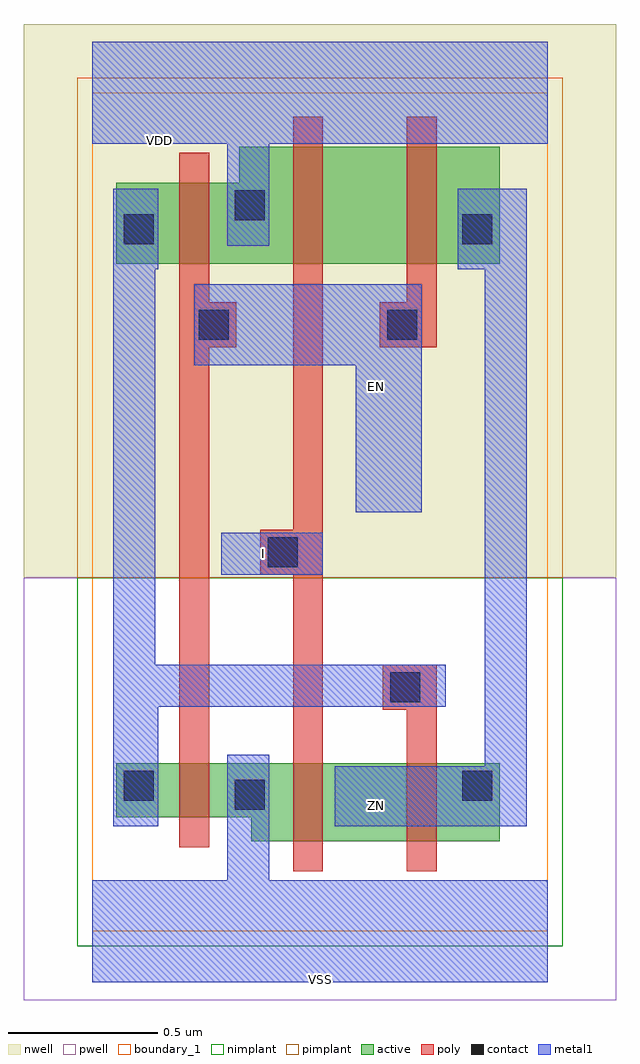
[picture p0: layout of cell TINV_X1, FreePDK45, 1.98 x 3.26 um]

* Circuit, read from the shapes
.subckt TINV_X1 EN I VDD VSS ZN
M1 VSS EN n1 VSUBS nfet w=0.18u l=0.1u
M2 n2 I VSS VSUBS nfet w=0.26u l=0.1u
M3 ZN n1 n2 VSUBS nfet w=0.26u l=0.1u
M4 VDD EN n1 n3 pfet w=0.27u l=0.1u
M5 n4 I VDD n3 pfet w=0.39u l=0.1u
M6 ZN EN n4 n3 pfet w=0.39u l=0.1u
.ends

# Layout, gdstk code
import gdstk
lib = gdstk.Library(unit=1e-6, precision=1e-09)
def R(c, l, rs):  # rectangles x0, y0, x1, y1
    for r in rs: c.add(gdstk.rectangle(r[:2], r[2:], *l))
def P(c, l, *ps):  # polygons
    for p in ps: c.add(gdstk.Polygon(p, *l))
active = (1, 0)
pwell = (2, 0)
nwell = (3, 0)
nimplant = (4, 0)
pimplant = (5, 0)
poly = (9, 0)
contact = (10, 0)
metal1 = (11, 0)
boundary_1 = (235, 1)

tinv_x1 = lib.new_cell('TINV_X1')
P(tinv_x1, active, [(0.08,2.23),(1.36,2.23),(1.36,2.62),(0.49,2.62),(0.49,2.5),(0.08,2.5)],
  [(0.08,0.38),(0.53,0.38),(0.53,0.3),(1.36,0.3),(1.36,0.56),(0.08,0.56)])
R(tinv_x1, pwell, [(-0.23,-0.23,1.75,1.18)])
R(tinv_x1, nwell, [(-0.23,1.18,1.75,3.03)])
R(tinv_x1, nimplant, [(-0.05,-0.05,1.57,1.18)])
R(tinv_x1, pimplant, [(-0.05,1.18,1.57,2.85)])
P(tinv_x1, poly, [(0.96,1.95),(1.15,1.95),(1.15,2.72),(1.05,2.72),(1.05,2.1),(0.96,2.1)],
  [(0.97,0.74),(1.05,0.74),(1.05,0.2),(1.15,0.2),(1.15,0.89),(0.97,0.89)],
  [(0.56,1.19),(0.67,1.19),(0.67,0.2),(0.77,0.2),(0.77,2.72),(0.67,2.72),(0.67,1.34),(0.56,1.34)],
  [(0.29,0.28),(0.39,0.28),(0.39,1.95),(0.48,1.95),(0.48,2.1),(0.39,2.1),(0.39,2.6),(0.29,2.6)])
R(tinv_x1, contact, [(0.475,0.405,0.575,0.505), (0.105,0.435,0.205,0.535), (1.235,0.435,1.335,0.535), (0.995,0.765,1.095,0.865), (0.585,1.215,0.685,1.315), (0.355,1.975,0.455,2.075), (0.985,1.975,1.085,2.075), (0.105,2.295,0.205,2.395), (1.235,2.295,1.335,2.395), (0.475,2.375,0.575,2.475)])
R(tinv_x1, metal1, [(0.43,1.19,0.77,1.33), (0.43,1.19,0.77,1.33)])
P(tinv_x1, metal1, [(0.34,1.89),(0.88,1.89),(0.88,1.4),(1.1,1.4),(1.1,2.16),(0.34,2.16)],
  [(1.22,2.21),(1.31,2.21),(1.31,0.55),(0.81,0.55),(0.81,0.35),(1.45,0.35),(1.45,2.48),(1.22,2.48)],
  [(0,-0.17),(1.52,-0.17),(1.52,0.17),(0.59,0.17),(0.59,0.59),(0.45,0.59),(0.45,0.17),(0,0.17)],
  [(0,2.63),(0.45,2.63),(0.45,2.29),(0.59,2.29),(0.59,2.63),(1.52,2.63),(1.52,2.97),(0,2.97)],
  [(0,2.63),(0.45,2.63),(0.45,2.29),(0.59,2.29),(0.59,2.63),(1.52,2.63),(1.52,2.97),(0,2.97)],
  [(0,-0.17),(1.52,-0.17),(1.52,0.17),(0.59,0.17),(0.59,0.59),(0.45,0.59),(0.45,0.17),(0,0.17)],
  [(1.22,2.21),(1.31,2.21),(1.31,0.55),(0.81,0.55),(0.81,0.35),(1.45,0.35),(1.45,2.48),(1.22,2.48)],
  [(0.07,0.35),(0.22,0.35),(0.22,0.75),(1.18,0.75),(1.18,0.89),(0.21,0.89),(0.21,2.21),(0.22,2.21),(0.22,2.48),(0.07,2.48)],
  [(0.34,1.89),(0.88,1.89),(0.88,1.4),(1.1,1.4),(1.1,2.16),(0.34,2.16)])
R(tinv_x1, boundary_1, [(0,0,1.52,2.8)])
tinv_x1.add(gdstk.Label('ZN', (0.95,0.42), layer=11, texttype=0))
tinv_x1.add(gdstk.Label('VSS', (0.76,-0.16), layer=11, texttype=0))
tinv_x1.add(gdstk.Label('VDD', (0.225,2.64), layer=11, texttype=0))
tinv_x1.add(gdstk.Label('I', (0.57,1.26), layer=11, texttype=0))
tinv_x1.add(gdstk.Label('EN', (0.95,1.82), layer=11, texttype=0))

lib.write_gds('TINV_X1.gds')
